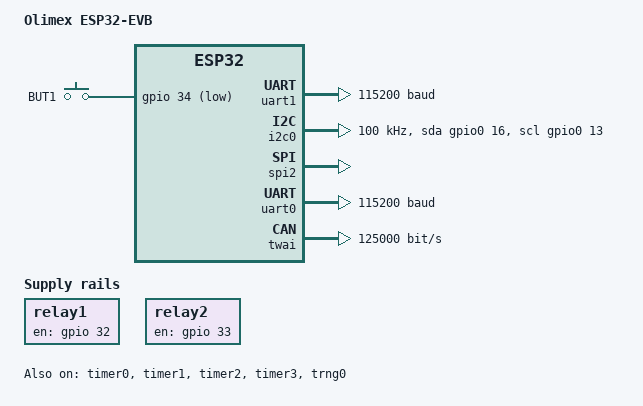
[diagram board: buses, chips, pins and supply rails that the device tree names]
/*
 * Copyright (c) 2022 Henrik Brix Andersen <henrik@brixandersen.dk>
 *
 * SPDX-License-Identifier: Apache-2.0
 */

/dts-v1/;

#include <espressif/esp32/esp32_wrover_e_n4r2.dtsi>
#include "olimex_esp32_evb-pinctrl.dtsi"
#include <zephyr/dt-bindings/input/input-event-codes.h>

/ {
	model = "Olimex ESP32-EVB";
	compatible = "olimex,esp32-evb", "espressif,esp32-wroom-32e", "espressif,esp32";

	chosen {
		zephyr,console = &uart0;
		zephyr,shell-uart = &uart0;
		zephyr,sram = &sram0;
		zephyr,flash = &flash0;
		zephyr,code-partition = &slot0_partition;
	};

	aliases {
		sw0 = &button1;
		watchdog0 = &wdt0;
	};

	gpio_keys {
		compatible = "gpio-keys";
		button1: button1 {
			gpios = <&gpio 34 GPIO_ACTIVE_LOW>;
			label = "BUT1";
			zephyr,code = <INPUT_KEY_0>;
		};
	};

	relay1: relay1 {
		compatible = "regulator-fixed";
		enable-gpios = <&gpio 32 GPIO_ACTIVE_HIGH>;
		regulator-name = "REL1";
		startup-delay-us = <10000>;
		off-on-delay-us = <5000>;
	};

	relay2: relay2 {
		compatible = "regulator-fixed";
		enable-gpios = <&gpio 33 GPIO_ACTIVE_HIGH>;
		regulator-name = "REL2";
		startup-delay-us = <10000>;
		off-on-delay-us = <5000>;
	};
};

&cpu0 {
	clock-frequency = <ESP32_CLK_CPU_240M>;
};

&cpu1 {
	clock-frequency = <ESP32_CLK_CPU_240M>;
};

uext_serial: &uart1 {};
uext_i2c: &i2c0 {};
uext_spi: &spi2 {};

&uart0 {
	status = "okay";
	current-speed = <115200>;
	pinctrl-0 = <&uart0_default>;
	pinctrl-names = "default";
};

&uart1 {
	status = "okay";
	current-speed = <115200>;
	pinctrl-0 = <&uart1_default>;
	pinctrl-names = "default";
};

&i2c0 {
	status = "okay";
	clock-frequency = <I2C_BITRATE_STANDARD>;
	sda-gpios = <&gpio0 16 GPIO_OPEN_DRAIN>;
	scl-gpios = <&gpio0 13 GPIO_OPEN_DRAIN>;
	pinctrl-0 = <&i2c0_default>;
	pinctrl-names = "default";
};

&spi2 {
	status = "okay";
	pinctrl-0 = <&spim2_default>;
	pinctrl-names = "default";
	#address-cells = <1>;
	#size-cells = <0>;
};

&twai {
	status = "okay";
	pinctrl-0 = <&twai_default>;
	pinctrl-names = "default";
	bus-speed = <125000>;

	can-transceiver {
		max-bitrate = <1000000>;
	};
};

&gpio0 {
	status = "okay";
};

&gpio1 {
	status = "okay";
};

&timer0 {
	status = "okay";
};

&timer1 {
	status = "okay";
};

&timer2 {
	status = "okay";
};

&timer3 {
	status = "okay";
};

&trng0 {
	status = "okay";
};

&flash0 {
	status = "okay";
	partitions {
		compatible = "fixed-partitions";
		#address-cells = <1>;
		#size-cells = <1>;

		/* Reserve 60kB for the bootloader */
		boot_partition: partition@1000 {
			label = "mcuboot";
			reg = <0x00001000 DT_SIZE_K(60)>;
			read-only;
		};

		/* Reserve 1024kB for the application in slot 0 */
		slot0_partition: partition@10000 {
			label = "image-0";
			reg = <0x00010000 DT_SIZE_K(1024)>;
		};

		/* Reserve 1024kB for the application in slot 1 */
		slot1_partition: partition@110000 {
			label = "image-1";
			reg = <0x00110000 DT_SIZE_K(1024)>;
		};

		/* Reserve 256kB for the scratch partition */
		scratch_partition: partition@210000 {
			   label = "image-scratch";
			   reg = <0x00210000 DT_SIZE_K(256)>;
		};

		storage_partition: partition@250000 {
			label = "storage";
			reg = <0x00250000 DT_SIZE_K(24)>;
		};
	};
};
